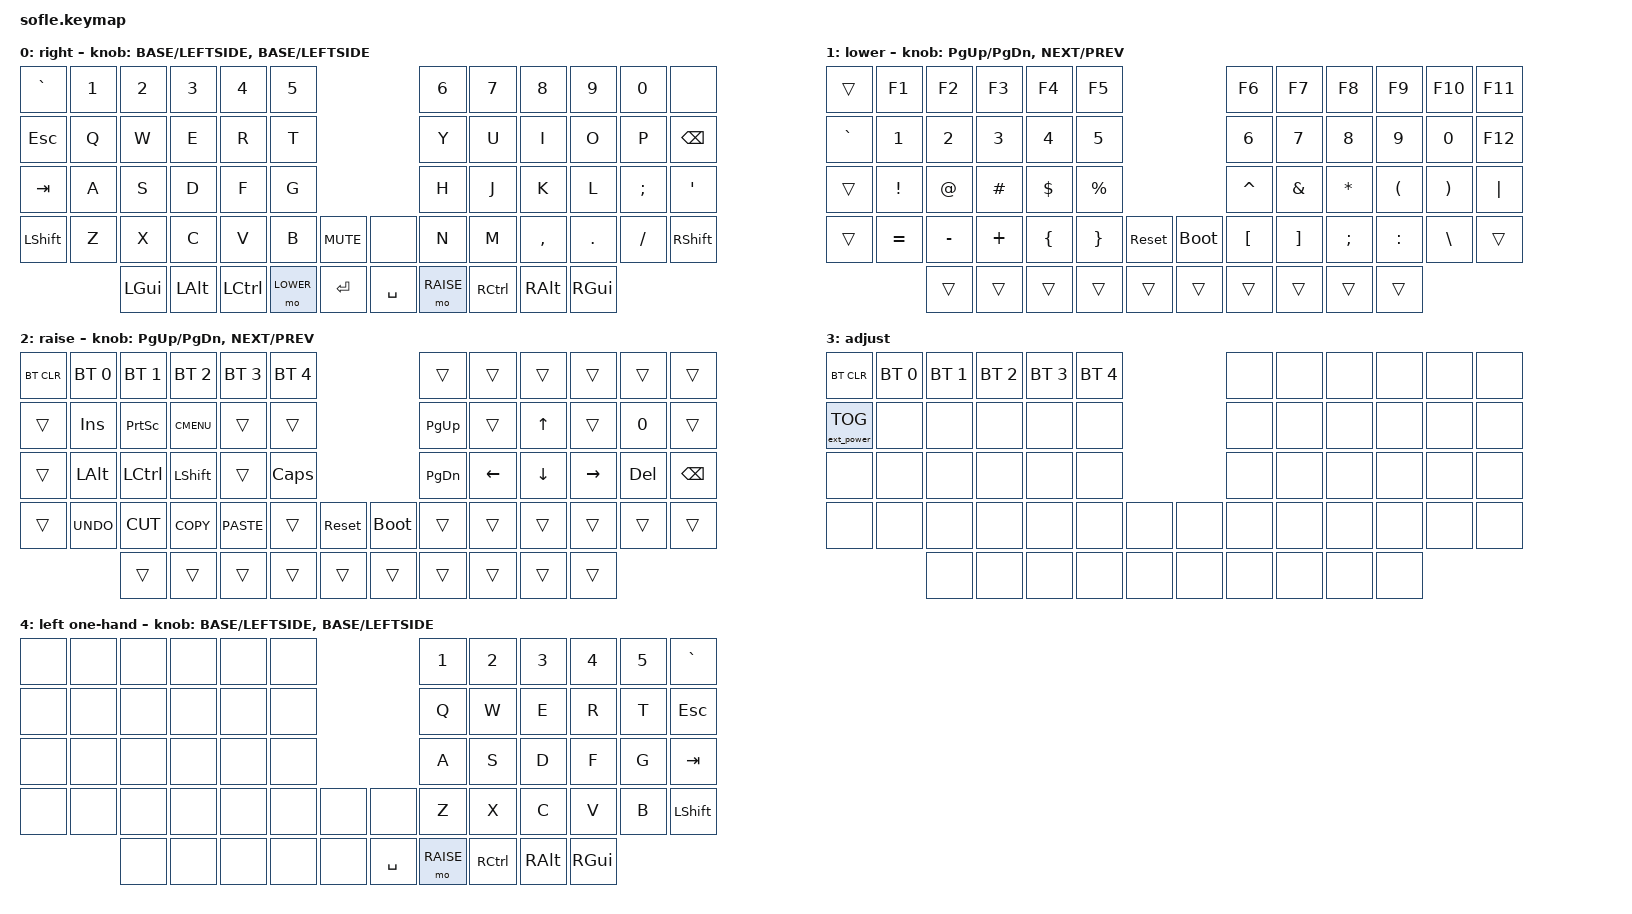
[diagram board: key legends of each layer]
/*
 * Copyright (c) 2020 The ZMK Contributors
 * SPDX-License-Identifier: MIT
 *
 * Sofle — full keyboard keymap (covers BOTH halves + dongle central)
 * neuroman.tech: https://github.com/neuromantech/zmk-config
 *
 * ============================================================================
 * EXPERIMENT: one-handed right-half layout, swapped by the encoder.
 * Branch: one-handed  (main is untouched — flash a main build to revert)
 * ============================================================================
 *
 * Idea: with only the right half built, make it type the WHOLE keyboard by
 * carrying two layouts and flipping between them with the rotary encoder:
 *
 *   encoder CLOCKWISE      -> layer 0 (RIGHT side)  right-half characters
 *   encoder ANTICLOCKWISE  -> layer 4 (LEFT side)   left-half characters
 *
 * Layer 4 is a STRAIGHT COPY of the left half in reading order — right-half
 * column N emits left-half column N, so the columns line up visually as you
 * read across:
 *
 *   right half col:   0    1    2    3    4    5
 *   row1 (was):       Y    U    I    O    P   BSPC
 *   row1 emits:      ESC   Q    W    E    R    T
 *   row2 (was):       H    J    K    L    ;    '
 *   row2 emits:      TAB   A    S    D    F    G
 *   row3 (was):       N    M    ,    .    /   RSFT
 *   row3 emits:     LSFT   Z    X    C    V    B
 *
 *   NOTE: this is NOT the finger-consistent mapping (that would be a mirror).
 *   Here the right index finger hits the left hand's outer-column keys.
 *
 * ROW 0 WRINKLE: the left half's top row has 6 keys (` 1 2 3 4 5) but the right
 * half's RC(0,11) position is unpopulated (the in-tree keymap puts &none there;
 * it is the encoder's neighbourhood, not a switch). So the digits are shifted
 * onto the five real positions (1 2 3 4 5) and the ` is parked on the dead
 * position. The ` stays reachable on the lower layer.
 *
 * Thumb cluster is IDENTICAL to layer 0 so space and the modifiers stay under
 * the hand. Left-half thumb positions are &none (not physically present).
 *
 * HOW IT WORKS (v0.3 has no stock "encoder changes layer" behavior):
 *   `zmk,behavior-sensor-rotate-var` takes two ARBITRARY behaviors as its
 *   bindings — one per rotation direction — and `override_params` feeds the
 *   keymap's two cells in as the parameter. So we bind `<&to>, <&to>` and pass
 *   layer numbers: `&side_swap 0 4` means CW -> &to 0, CCW -> &to 4.
 *   (&to fires on press only, which suits a tapped sensor event.)
 *
 *   The right half's encoder is sensor index 1 (sensors are indexed positionally
 *   over the zmk,keymap-sensors list, and the peripheral forwards that index
 *   verbatim), so it drives sensor-bindings entry [1].
 *
 * NOTE: sensor-bindings are per-layer, so the swap is bound on BOTH layer 0 and
 * layer 4 — otherwise the encoder dies on the other layer and there is no way
 * back. Layers 1/2/3 (momentary) keep the old scroll/track-skip encoder.
 *
 * STILL REACHABLE: layers 1 (lower) and 2 (raise) keep &sys_reset / &bootloader
 * on the two spacebar-half positions — important, since the dongle's RST trace
 * is severed and this is the only route into its bootloader.
 *
 * Hardware: 3x SuperMini NRF52840 (ZMK board id: nice_nano_v2)
 *   - sofle_left  / sofle_right : halves (encoders fitted)
 *   - sofle_dongle              : BLE dongle (central, no keys)
 *
 * RGB underglow NOT enabled (LEDs not soldered yet) — no &rgb_ug here.
 */

#include <behaviors.dtsi>
#include <dt-bindings/zmk/keys.h>
#include <dt-bindings/zmk/bt.h>
#include <dt-bindings/zmk/ext_power.h>

#define BASE    0
#define LOWER   1
#define RAISE   2
#define ADJUST  3
/* NOTE: must NOT be called LEFT — keys.h already defines LEFT as the arrow
 * keycode, and redefining it silently rewrites `&kp LEFT`. */
#define LEFTSIDE 4

/ {

    /* ADJUST activates while LOWER + RAISE are both held */
    conditional_layers {
        compatible = "zmk,conditional-layers";
        adjust_layer {
            if-layers = <LOWER RAISE>;
            then-layer = <ADJUST>;
        };
    };

    behaviors {
        /*
         * Encoder -> layer switch. Two cells from the keymap:
         *   cell 1 = layer for CLOCKWISE,  cell 2 = layer for ANTICLOCKWISE.
         */
        side_swap: side_swap {
            compatible = "zmk,behavior-sensor-rotate-var";
            #sensor-binding-cells = <2>;
            bindings = <&to>, <&to>;
        };
    };

    keymap {
        compatible = "zmk,keymap";

        default_layer {
            display-name = "right";
/*
 * Layer 0 — RIGHT side characters (the normal right-half layout).
 * ,-----------------------------------------------------------.
 * |   `  |  1 |  2 |  3 |  4 |  5 |          |  6 |  7 |  8 |  9 |  0 |      |
 * |  ESC |  Q |  W |  E |  R |  T |          |  Y |  U |  I |  O |  P | BKSP |
 * |  TAB |  A |  S |  D |  F |  G |          |  H |  J |  K |  L |  ; |  '   |
 * | LSFT |  Z |  X |  C |  V |  B |  MUTE    |  N |  M |  , |  . |  / | RSFT |
 * |      | GUI | ALT | CTL |LOWER| RET | SPACE |RAISE| RCTL| RALT| RGUI|    |
 */
            bindings = <
&kp GRAVE &kp N1 &kp N2   &kp N3   &kp N4    &kp N5                           &kp N6 &kp N7    &kp N8    &kp N9   &kp N0   &none
&kp ESC   &kp Q  &kp W    &kp E    &kp R     &kp T                            &kp Y  &kp U     &kp I     &kp O    &kp P    &kp BSPC
&kp TAB   &kp A  &kp S    &kp D    &kp F     &kp G                            &kp H  &kp J     &kp K     &kp L    &kp SEMI &kp SQT
&kp LSHFT &kp Z  &kp X    &kp C    &kp V     &kp B      &kp C_MUTE &none      &kp N  &kp M     &kp COMMA &kp DOT  &kp FSLH &kp RSHFT
                 &kp LGUI &kp LALT &kp LCTRL &mo LOWER  &kp RET    &kp SPACE  &mo RAISE  &kp RCTRL &kp RALT  &kp RGUI
            >;

            /* Encoder swaps the two one-handed layouts: CW -> 0 (right), CCW -> 4 (left) */
            sensor-bindings = <&side_swap BASE LEFTSIDE &side_swap BASE LEFTSIDE>;
        };

        lower_layer {
            display-name = "lower";
/*
 * Layer 1 — numbers / symbols / F-keys (momentary, LOWER thumb)
 */
            bindings = <
&trans    &kp F1    &kp F2    &kp F3      &kp F4    &kp F5                    &kp F6    &kp F7   &kp F8    &kp F9    &kp F10   &kp F11
&kp GRAVE &kp N1    &kp N2    &kp N3      &kp N4    &kp N5                    &kp N6    &kp N7   &kp N8    &kp N9    &kp N0    &kp F12
&trans    &kp EXCL  &kp AT    &kp HASH    &kp DLLR  &kp PRCNT                 &kp CARET &kp AMPS &kp ASTRK &kp LPAR  &kp RPAR  &kp PIPE
&trans    &kp EQUAL &kp MINUS &kp PLUS    &kp LBRC  &kp RBRC   &sys_reset &bootloader  &kp LBKT  &kp RBKT &kp SEMI  &kp COLON &kp BSLH  &trans
                    &trans    &trans      &trans    &trans     &trans &trans  &trans    &trans   &trans    &trans
            >;
            sensor-bindings = <&inc_dec_kp PG_UP PG_DN &inc_dec_kp C_NEXT C_PREV>;
        };

        raise_layer {
            display-name = "raise";
/*
 * Layer 2 — nav / Bluetooth / clipboard (momentary, RAISE thumb).
 * Bootloader escape lives here (see NOTE at the top of the file).
 */
            bindings = <
&bt BT_CLR &bt BT_SEL 0 &bt BT_SEL 1 &bt BT_SEL 2 &bt BT_SEL 3 &bt BT_SEL 4                  &trans    &trans    &trans   &trans    &trans  &trans
&trans     &kp INS      &kp PSCRN    &kp K_CMENU  &trans       &trans                        &kp PG_UP &trans    &kp UP   &trans    &kp N0  &trans
&trans     &kp LALT     &kp LCTRL    &kp LSHFT    &trans       &kp CLCK                      &kp PG_DN &kp LEFT  &kp DOWN &kp RIGHT &kp DEL &kp BSPC
&trans      &kp K_UNDO   &kp K_CUT    &kp K_COPY   &kp K_PASTE  &trans        &sys_reset &bootloader  &trans    &trans    &trans   &trans    &trans  &trans
                        &trans       &trans       &trans       &trans        &trans  &trans  &trans    &trans    &trans   &trans
            >;
            sensor-bindings = <&inc_dec_kp PG_UP PG_DN &inc_dec_kp C_NEXT C_PREV>;
        };

        adjust_layer {
            display-name = "adjust";
/*
 * Layer 3 — system / power (conditional: LOWER + RAISE held together).
 * RGB intentionally omitted (LEDs not soldered).
 */
            bindings = <
&bt BT_CLR        &bt BT_SEL 0    &bt BT_SEL 1    &bt BT_SEL 2    &bt BT_SEL 3    &bt BT_SEL 4                            &none &none &none &none &none &none
&ext_power EP_TOG &none           &none           &none           &none           &none                                   &none &none &none &none &none &none
&none             &none           &none           &none           &none           &none                                   &none &none &none &none &none &none
&none             &none           &none           &none           &none           &none            &none &none          &none &none &none &none &none &none
                                  &none           &none           &none           &none            &none           &none  &none &none &none &none
            >;
        };

        left_layer {
            display-name = "left one-hand";
/*
 * Layer 4 — LEFT half characters, letters starting at the FAR-LEFT column.
 * Reached by turning the encoder ANTICLOCKWISE; clockwise goes back.
 *
 *   right half col:   0    1    2    3    4    5 (pinky / outer edge)
 *   row 0 emits:      1    2    3    4    5    `
 *   row 1 emits:      Q    W    E    R    T   ESC
 *   row 2 emits:      A    S    D    F    G   TAB
 *   row 3 emits:      Z    X    C    V    B  LSHFT
 *
 * The letters fill the inner five columns in reading order and the outer
 * column carries the left half's specials, so the TAB/SHIFT/ESC/` keys land
 * under the pinky where a modifier belongs. The ` sits on the unpopulated
 * sixth position (RC(0,11)), so it is reachable via the lower layer instead.
 */
            bindings = <
&none     &none     &none     &none     &none     &none                         &kp N1 &kp N2    &kp N3    &kp N4    &kp N5    &kp GRAVE
&none     &none     &none     &none     &none     &none                         &kp Q  &kp W     &kp E     &kp R     &kp T     &kp ESC
&none     &none     &none     &none     &none     &none                         &kp A  &kp S     &kp D     &kp F     &kp G     &kp TAB
&none     &none     &none     &none     &none     &none      &none     &none    &kp Z  &kp X     &kp C     &kp V     &kp B     &kp LSHFT
                              &none     &none     &none     &none     &none             &kp SPACE &mo RAISE &kp RCTRL &kp RALT &kp RGUI
            >;

            /* Must repeat the swap here, or the encoder is dead on this layer */
            sensor-bindings = <&side_swap BASE LEFTSIDE &side_swap BASE LEFTSIDE>;
        };

        /* --- ZMK Studio headroom ------------------------------------------
         * Ignored by normal ZMK builds, but offered to ZMK Studio, which
         * cannot ADD layers beyond what the devicetree declares. Declaring
         * reserved layers here is the documented way to get room to build
         * extra layers at runtime (Studio can rename/enable these).
         * ------------------------------------------------------------------ */
        studio_extra_1 { status = "reserved"; };
        studio_extra_2 { status = "reserved"; };
        studio_extra_3 { status = "reserved"; };
    };
};
